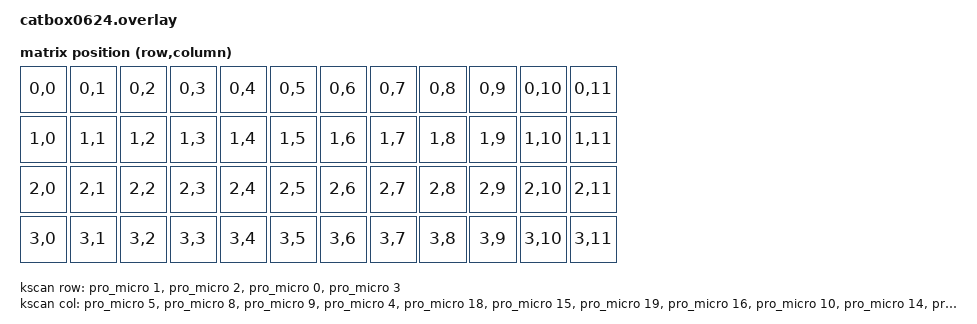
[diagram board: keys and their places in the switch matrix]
// Planck 4x12 layout with 2u spacebar (MIT layout)
// 2u key at bottom row, electrical matrix col 5 (physical cols 6-7, 1-indexed)
// Electrical matrix col 6 has no physical switch
// See https://zmk.dev/docs/development/hardware-integration/new-shield

#include <dt-bindings/zmk/matrix_transform.h>

#include "catbox0624-layouts.dtsi"

/ {
    aliases {
        led-red = &rgb_r;
        led-green = &rgb_g;
        led-blue = &rgb_b;
    };

    chosen {
        zmk,physical-layout = &default_layout;
    };

    kscan: kscan {
        compatible = "zmk,kscan-gpio-matrix";
        diode-direction = "col2row";
        wakeup-source;

        // 12 column pins (C1→C12, left to right)
        // C6 = 2u spacebar (D15), C7 = no switch (D19)
        col-gpios
            = <&pro_micro  5 GPIO_ACTIVE_HIGH>   // C1  → D5/P0.24
            , <&pro_micro  8 GPIO_ACTIVE_HIGH>   // C2  → D8/P1.04
            , <&pro_micro  9 GPIO_ACTIVE_HIGH>   // C3  → D9/P1.06
            , <&pro_micro  4 GPIO_ACTIVE_HIGH>   // C4  → D4/P0.22
            , <&pro_micro 18 GPIO_ACTIVE_HIGH>   // C5  → D18/P1.15
            , <&pro_micro 15 GPIO_ACTIVE_HIGH>   // C6  → D15/P1.13 (2u spacebar)
            , <&pro_micro 19 GPIO_ACTIVE_HIGH>   // C7  → D19/P0.02 (no switch)
            , <&pro_micro 16 GPIO_ACTIVE_HIGH>   // C8  → D16/P0.10
            , <&pro_micro 10 GPIO_ACTIVE_HIGH>   // C9  → D10/P0.09
            , <&pro_micro 14 GPIO_ACTIVE_HIGH>   // C10 → D14/P1.11
            , <&pro_micro  7 GPIO_ACTIVE_HIGH>   // C11 → D7/P0.11
            , <&pro_micro  6 GPIO_ACTIVE_HIGH>   // C12 → D6/P1.00
            ;

        // 4 row pins (R1→R4, top to bottom)
        row-gpios
            = <&pro_micro 1 (GPIO_ACTIVE_HIGH | GPIO_PULL_DOWN)>  // R1 → D1/P0.06
            , <&pro_micro 2 (GPIO_ACTIVE_HIGH | GPIO_PULL_DOWN)>  // R2 → D2/P0.17
            , <&pro_micro 0 (GPIO_ACTIVE_HIGH | GPIO_PULL_DOWN)>  // R3 → D0/P0.08
            , <&pro_micro 3 (GPIO_ACTIVE_HIGH | GPIO_PULL_DOWN)>  // R4 → D3/P0.20
            ;
    };

    // Common-anode RGB status LED (VCC ─ LED ─ resistor ─ GPIO)
    // GPIO_ACTIVE_LOW = LOW turns on (common anode connects to VCC)
    // R → P1.01  G → P1.02  B → P1.07
    rgb_leds {
        compatible = "gpio-leds";
        rgb_r: led_r {
            gpios = <&gpio1 1 GPIO_ACTIVE_LOW>;
            label = "RGB Red";
        };
        rgb_g: led_g {
            gpios = <&gpio1 2 GPIO_ACTIVE_LOW>;
            label = "RGB Green";
        };
        rgb_b: led_b {
            gpios = <&gpio1 7 GPIO_ACTIVE_LOW>;
            label = "RGB Blue";
        };
    };

    default_transform: default_transform {
        compatible = "zmk,matrix-transform";
        columns = <12>;
        rows = <4>;

        // 4 rows x 12 columns
        // Bottom row: RC(3,5)=2u spacebar, RC(3,6)=empty (no switch)
        // ╭──┬──┬──┬──┬──┬──┬──┬──┬──┬──┬──┬──╮
        // │0 │1 │2 │3 │4 │5 │6 │7 │8 │9 │10│11│  Row 0
        // │12│13│14│15│16│17│18│19│20│21│22│23│  Row 1
        // │24│25│26│27│28│29│30│31│32│33│34│35│  Row 2
        // │36│37│38│39│40│41│--│42│43│44│45│46│  Row 3 (47 phys keys)
        // ╰──┴──┴──┴──┴──┴─────╰──┴──┴──┴──┴──╯
        // cols 1-6:    cols 6-7:      cols 8-12:
        // 5x 1u        2u space      5x 1u
        map = <
            RC(0,0)  RC(0,1)  RC(0,2)  RC(0,3)  RC(0,4)  RC(0,5)  RC(0,6)  RC(0,7)  RC(0,8)  RC(0,9)  RC(0,10)  RC(0,11)
            RC(1,0)  RC(1,1)  RC(1,2)  RC(1,3)  RC(1,4)  RC(1,5)  RC(1,6)  RC(1,7)  RC(1,8)  RC(1,9)  RC(1,10)  RC(1,11)
            RC(2,0)  RC(2,1)  RC(2,2)  RC(2,3)  RC(2,4)  RC(2,5)  RC(2,6)  RC(2,7)  RC(2,8)  RC(2,9)  RC(2,10)  RC(2,11)
            RC(3,0)  RC(3,1)  RC(3,2)  RC(3,3)  RC(3,4)  RC(3,5)  RC(3,6)  RC(3,7)  RC(3,8)  RC(3,9)  RC(3,10)  RC(3,11)
        >;
    };
};
